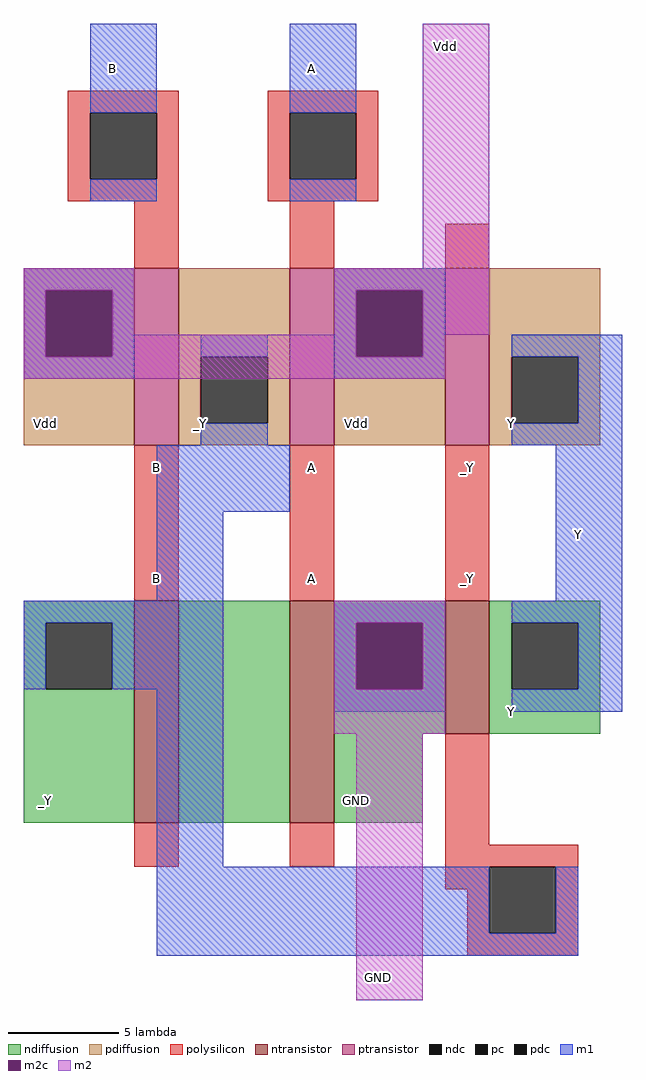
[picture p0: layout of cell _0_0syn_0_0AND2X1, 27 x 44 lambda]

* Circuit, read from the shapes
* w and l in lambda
.subckt _0_0syn_0_0AND2X1 GND Vdd B Y A
M1 n1 B _Y VSUBS nfet w=10 l=2
M2 GND A n1 VSUBS nfet w=10 l=2
M3 Y _Y GND VSUBS nfet w=6 l=2
M4 _Y B Vdd NWELL pfet w=8 l=2
M5 Vdd A _Y NWELL pfet w=8 l=2
M6 Y _Y Vdd NWELL pfet w=8 l=2
.ends

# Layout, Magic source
magic
tech sky130l
<< ndiffusion >>
rect 6 15 11 16
rect 6 12 7 15
rect 10 12 11 15
rect 6 6 11 12
rect 13 6 18 16
rect 20 15 25 16
rect 20 12 21 15
rect 24 12 25 15
rect 20 10 25 12
rect 27 15 32 16
rect 27 12 28 15
rect 31 12 32 15
rect 27 10 32 12
rect 20 6 24 10
<< ndc >>
rect 7 12 10 15
rect 21 12 24 15
rect 28 12 31 15
<< ntransistor >>
rect 11 6 13 16
rect 18 6 20 16
rect 25 10 27 16
<< pdiffusion >>
rect 6 30 11 31
rect 6 27 7 30
rect 10 27 11 30
rect 6 23 11 27
rect 13 27 18 31
rect 13 24 14 27
rect 17 24 18 27
rect 13 23 18 24
rect 20 30 25 31
rect 20 27 21 30
rect 24 27 25 30
rect 20 23 25 27
rect 27 27 32 31
rect 27 24 28 27
rect 31 24 32 27
rect 27 23 32 24
<< pdc >>
rect 7 27 10 30
rect 14 24 17 27
rect 21 27 24 30
rect 28 24 31 27
<< ptransistor >>
rect 11 23 13 31
rect 18 23 20 31
rect 25 23 27 31
<< polysilicon >>
rect 8 38 13 39
rect 8 35 9 38
rect 12 35 13 38
rect 8 34 13 35
rect 17 38 22 39
rect 17 35 18 38
rect 21 35 22 38
rect 17 34 22 35
rect 11 31 13 34
rect 18 31 20 34
rect 25 31 27 33
rect 11 16 13 23
rect 18 16 20 23
rect 25 16 27 23
rect 11 4 13 6
rect 18 4 20 6
rect 25 5 27 10
rect 25 4 31 5
rect 25 3 27 4
rect 26 1 27 3
rect 30 1 31 4
rect 26 0 31 1
<< pc >>
rect 9 35 12 38
rect 18 35 21 38
rect 27 1 30 4
<< m1 >>
rect 9 38 12 42
rect 9 34 12 35
rect 18 38 21 42
rect 18 34 21 35
rect 6 30 11 31
rect 6 27 7 30
rect 10 27 11 30
rect 20 30 25 31
rect 6 26 11 27
rect 14 27 17 28
rect 20 27 21 30
rect 24 27 25 30
rect 20 26 25 27
rect 28 27 33 28
rect 14 23 17 24
rect 31 24 33 27
rect 28 23 33 24
rect 12 20 18 23
rect 12 16 15 20
rect 30 16 33 23
rect 6 15 15 16
rect 6 12 7 15
rect 10 12 15 15
rect 12 4 15 12
rect 20 15 25 16
rect 20 12 21 15
rect 24 12 25 15
rect 20 11 25 12
rect 28 15 33 16
rect 31 12 33 15
rect 28 11 33 12
rect 12 1 27 4
rect 30 1 31 4
rect 12 0 31 1
<< m2c >>
rect 7 27 10 30
rect 21 27 24 30
rect 21 12 24 15
<< m2 >>
rect 24 31 27 42
rect 6 30 11 31
rect 6 27 7 30
rect 10 28 11 30
rect 20 30 27 31
rect 20 28 21 30
rect 10 27 21 28
rect 24 28 27 30
rect 24 27 25 28
rect 6 26 25 27
rect 20 15 25 16
rect 20 12 21 15
rect 24 12 25 15
rect 20 10 25 12
rect 21 -2 24 10
<< labels >>
rlabel ndiffusion 28 11 28 11 3 Y
rlabel polysilicon 26 17 26 17 3 _Y
rlabel polysilicon 26 22 26 22 3 _Y
rlabel pdiffusion 28 24 28 24 3 Y
rlabel ndiffusion 21 7 21 7 3 GND
rlabel pdiffusion 21 24 21 24 3 Vdd
rlabel polysilicon 19 17 19 17 3 A
rlabel polysilicon 19 22 19 22 3 A
rlabel pdiffusion 14 24 14 24 3 _Y
rlabel polysilicon 12 17 12 17 3 B
rlabel polysilicon 12 22 12 22 3 B
rlabel ndiffusion 7 7 7 7 3 _Y
rlabel pdiffusion 7 24 7 24 3 Vdd
rlabel m1 31 19 31 19 3 Y
port 4 e
rlabel m1 10 40 10 40 3 B
port 3 e
rlabel m1 19 40 19 40 3 A
port 5 e
rlabel m2 25 41 25 41 3 Vdd
port 2 e
rlabel m2 22 -1 22 -1 3 GND
port 1 e
<< end >>
